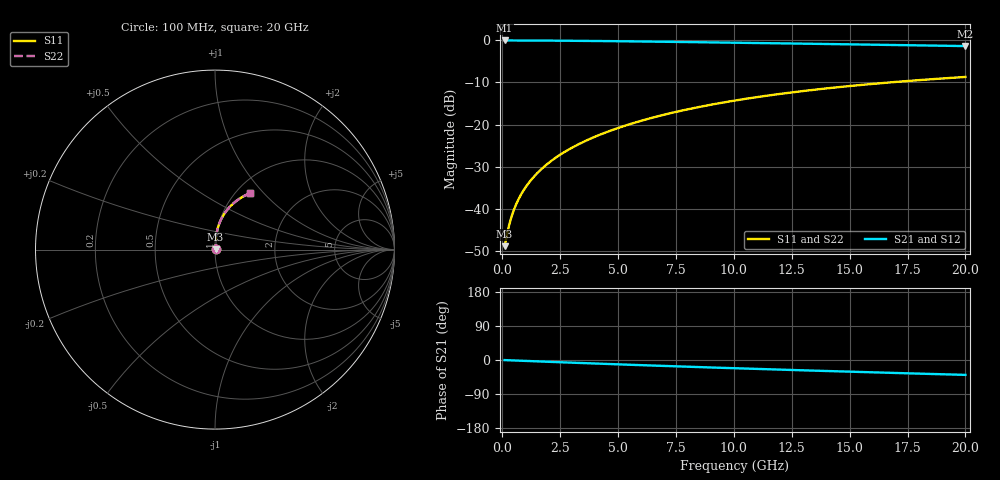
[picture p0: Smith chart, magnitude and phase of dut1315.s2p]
! Touchstone file exported from HFSS 2024.1.0
!  File:  C:/UserFiles/LocalFiles/RDL_TSV_Batchsim/temp_RDL_top_1315_1780364838.aedt
!  Generated:  09:49:25 AM Jun  2, 2026
!  Design:  RDL_top
!  Project:  temp_RDL_top_1315_1780364838
!  Setup:  Setup1
!  Solution:  Sweep
! Variables:
!  dtsv = 10.80580581um
!  hbump = 3um
!  htsv = 73.83um
!  ldown = 100um
!  lrdl = 527.75um
!  p = 40
!  p1 = 55um
!  rhole = 1um
!  t = 450um
!  tdown = 3.915915916um
!  trdl = 2.82um
!  wdown = 15.38538539um
!  wrdl = 23.63um
# GHz S MA R 50.000000
! Terminal data exported
! Port[1] = Box2_T1
! Port[2] = Box2_T2
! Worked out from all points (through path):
!   200 points, 100 MHz to 20 GHz, reference 50 ohm
!   highest |S21| = -0.03 dB at 100 MHz (marker M1); lowest = -1.4 dB at 20 GHz (marker M2)
!   group delay of S21, straight-line fit = 5.41 ps
!   lowest |S11| = -48.8 dB at 100 MHz (marker M3), VSWR 1.01, Z = 50.3 + j0.193 ohm
!   |S11| at or under -10 dB: start of sweep to 16.7 GHz
!   |S22| runs from -48.8 to -8.7 dB; largest |S21 - S12| = 3.4e-15
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0.1  0.003612 32.1  0.9969 -0.2  0.9969 -0.2  0.003612 32.1
! Gamma 0 0 0 0
! Port Impedance 50 0 50 0
0.2  0.004944 50.0  0.9968 -0.5  0.9968 -0.5  0.004944 50.0
0.3  0.006505 59.3  0.9966 -0.7  0.9966 -0.7  0.006505 59.3
0.4  0.008117 64.8  0.9964 -1.0  0.9964 -1.0  0.008117 64.8
0.5  0.00974 68.5  0.9962 -1.2  0.9962 -1.2  0.00974 68.5
0.6  0.01137 71.2  0.996 -1.5  0.996 -1.5  0.01137 71.2
0.8  0.01465 74.9  0.9956 -1.9  0.9956 -1.9  0.01465 74.9
1.1  0.01964 78.4  0.995 -2.6  0.995 -2.6  0.01964 78.4
1.3  0.02301 80.0  0.9945 -3.1  0.9945 -3.1  0.02301 80.0
1.6  0.02815 81.6  0.9937 -3.8  0.9937 -3.8  0.02815 81.6
2.1  0.03687 83.3  0.9921 -5.0  0.9921 -5.0  0.03687 83.3
2.7  0.0476 84.3  0.9896 -6.4  0.9896 -6.4  0.0476 84.3
3.5  0.06234 84.8  0.9857 -8.2  0.9857 -8.2  0.06235 84.8
4.2  0.07563 84.8  0.9816 -9.7  0.9816 -9.7  0.07564 84.8
5  0.09121 84.3  0.9765 -11.5  0.9765 -11.5  0.09122 84.3
6.8  0.1273 82.2  0.9635 -15.3  0.9635 -15.3  0.1273 82.2
8.4  0.1599 79.6  0.951 -18.5  0.951 -18.5  0.1599 79.7
10.1  0.1942 76.6  0.9373 -21.9  0.9373 -21.9  0.1943 76.6
11.7  0.2257 73.5  0.9242 -24.9  0.9242 -24.9  0.2258 73.6
13.4  0.258 70.3  0.9101 -28.0  0.9101 -28.0  0.2581 70.3
16.7  0.3162 64.1  0.8825 -33.8  0.8825 -33.8  0.3163 64.2
20  0.368 58.3  0.855 -39.3  0.855 -39.3  0.3681 58.3
